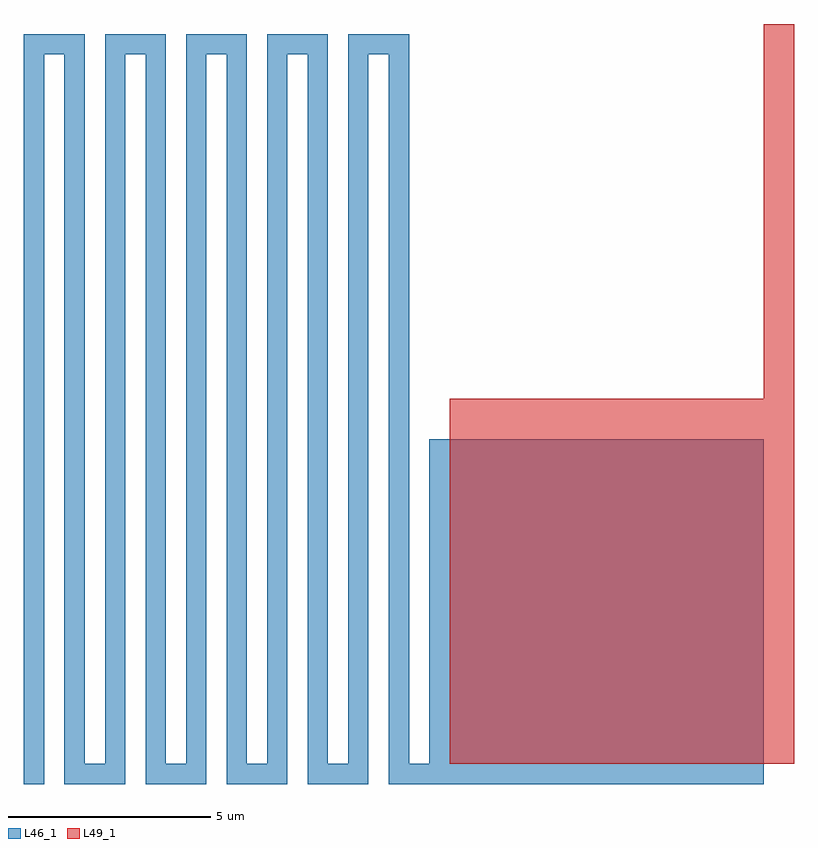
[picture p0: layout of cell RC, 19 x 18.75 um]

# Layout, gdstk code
import gdstk
lib = gdstk.Library(unit=1e-6, precision=1e-11)
def R(c, l, rs):  # rectangles x0, y0, x1, y1
    for r in rs: c.add(gdstk.rectangle(r[:2], r[2:], *l))
def A(c, l, x, y, w, h, nx, ny, dx, dy):  # array of equal rectangles
    R(c, l, [(x+i*dx, y+j*dy, x+i*dx+w, y+j*dy+h) for i in range(nx) for j in range(ny)])
L46_1 = (46, 1)
L49_1 = (49, 1)

c_rc = lib.new_cell('RC')
A(c_rc, L46_1, 1, 0, 1.5, 0.5, 4, 1, 2, 0)
A(c_rc, L46_1, 1, 0.5, 0.5, 17.5, 9, 1, 1, 0)
A(c_rc, L46_1, 0, 18, 1.5, 0.5, 5, 1, 2, 0)
R(c_rc, L46_1, [(0,0,0.5,0.5), (0,0,0.5,18), (9,0,18.25,0.5), (10,0.5,18.25,8.5)])
R(c_rc, L49_1, [(10.5,0.5,19,9.5), (18.25,9.5,19,18.75), (18.25,18,19,18.75)])

lib.write_gds('RC.gds')
